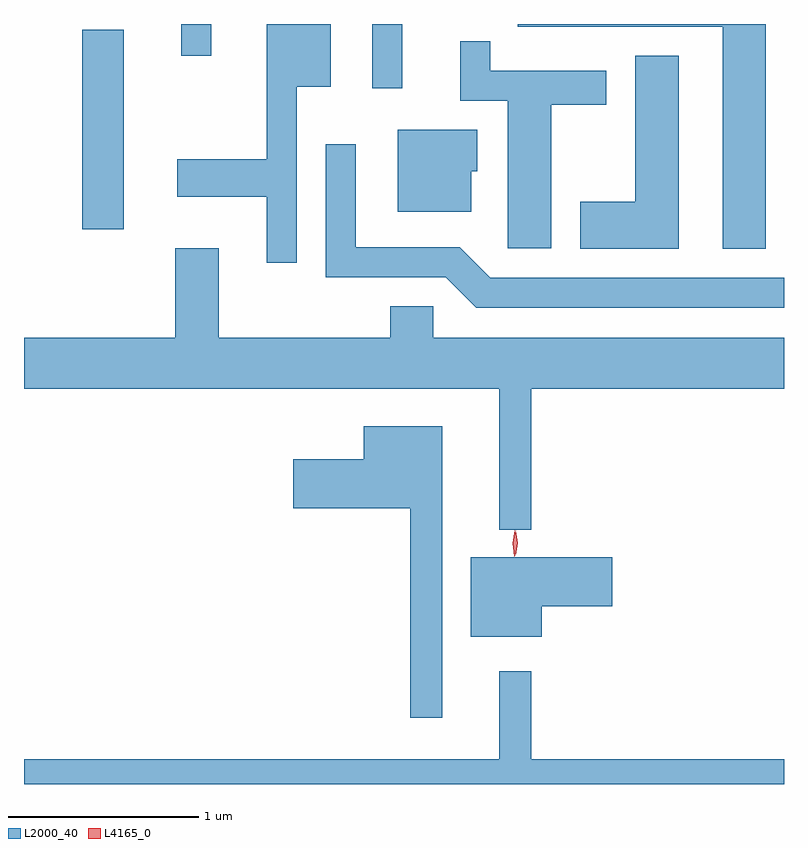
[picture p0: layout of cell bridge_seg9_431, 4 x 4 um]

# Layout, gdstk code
import gdstk
lib = gdstk.Library(unit=1e-6, precision=1e-09)
def R(c, l, rs):  # rectangles x0, y0, x1, y1
    for r in rs: c.add(gdstk.rectangle(r[:2], r[2:], *l))
def P(c, l, *ps):  # polygons
    for p in ps: c.add(gdstk.Polygon(p, *l))
L2000_40 = (2000, 40)
L4165_0 = (4165, 0)

bridge_seg9_431 = lib.new_cell('bridge_seg9_431')
R(bridge_seg9_431, L2000_40, [(237.866,2039.276,238.084,2040.324), (239.391,2040.018,239.549,2040.355), (238.386,2040.188,238.544,2040.355)])
P(bridge_seg9_431, L2000_40, [(241.464,2040.355),(240.158,2040.355),(240.158,2040.341),(241.236,2040.341),(241.236,2039.171),(241.464,2039.171)],
  [(238.994,2040.026),(239.174,2040.026),(239.174,2040.355),(238.836,2040.355),(238.836,2039.644),(238.366,2039.644),(238.366,2039.446),(238.836,2039.446),(238.836,2039.098),(238.994,2039.098)],
  [(240.334,2039.931),(240.624,2039.931),(240.624,2040.109),(240.014,2040.109),(240.014,2040.263),(239.856,2040.263),(239.856,2039.951),(240.106,2039.951),(240.106,2039.176),(240.334,2039.176)],
  [(241.004,2040.189),(240.776,2040.189),(240.776,2039.419),(240.486,2039.419),(240.486,2039.171),(241.004,2039.171)],
  [(239.914,2039.581),(239.944,2039.581),(239.944,2039.799),(239.526,2039.799),(239.526,2039.366),(239.914,2039.366)],
  [(241.559,2039.019),(240.012,2039.019),(239.852,2039.179),(239.304,2039.179),(239.304,2039.723),(239.146,2039.723),(239.146,2039.021),(239.779,2039.021),(239.939,2038.861),(241.559,2038.861)],
  [(240.229,2038.436),(241.559,2038.436),(241.559,2038.704),(239.714,2038.704),(239.714,2038.869),(239.486,2038.869),(239.486,2038.704),(238.584,2038.704),(238.584,2039.174),(238.356,2039.174),(238.356,2038.704),(237.559,2038.704),(237.559,2038.436),(240.061,2038.436),(240.061,2037.693),(240.229,2037.693)],
  [(239.759,2038.239),(239.346,2038.239),(239.346,2038.064),(238.976,2038.064),(238.976,2037.806),(239.591,2037.806),(239.591,2036.703),(239.759,2036.703)],
  [(240.284,2037.291),(240.654,2037.291),(240.654,2037.549),(239.911,2037.549),(239.911,2037.131),(240.284,2037.131)],
  [(241.559,2036.484),(240.229,2036.484),(240.229,2036.948),(240.061,2036.948),(240.061,2036.484),(237.559,2036.484),(237.559,2036.355),(241.559,2036.355)])
P(bridge_seg9_431, L4165_0, [(240.14,2037.554),(240.14,2037.554),(240.131,2037.622),(240.141,2037.69),(240.142,2037.69),(240.142,2037.69),(240.151,2037.622),(240.141,2037.554)],
  [(240.147,2037.56),(240.147,2037.56),(240.138,2037.624),(240.147,2037.686),(240.147,2037.687),(240.148,2037.686),(240.157,2037.624),(240.148,2037.56)])

lib.write_gds('bridge_seg9_431.gds')
